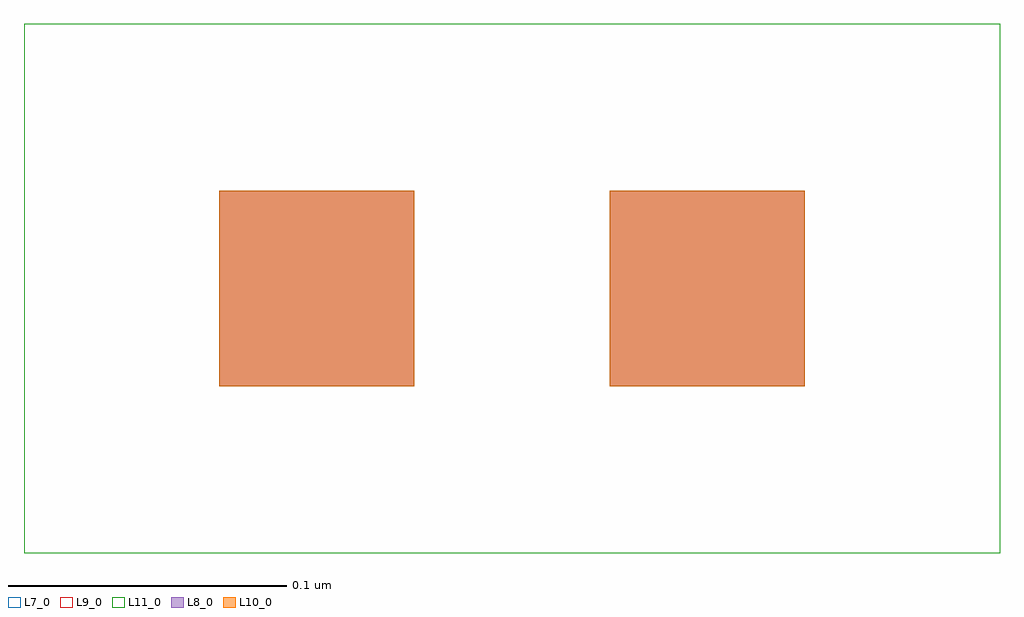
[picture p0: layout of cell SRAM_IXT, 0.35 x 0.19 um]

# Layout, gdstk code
import gdstk
lib = gdstk.Library(unit=1e-6, precision=5e-10)
def R(c, l, rs):  # rectangles x0, y0, x1, y1
    for r in rs: c.add(gdstk.rectangle(r[:2], r[2:], *l))
L7_0 = (7, 0)
L8_0 = (8, 0)
L9_0 = (9, 0)
L10_0 = (10, 0)
L11_0 = (11, 0)

sram_ixt = lib.new_cell('SRAM_IXT')
R(sram_ixt, L7_0, [(-0.175,-0.095,0.175,0.095)])
R(sram_ixt, L8_0, [(-0.105,-0.035,-0.035,0.035), (0.035,-0.035,0.105,0.035)])
R(sram_ixt, L9_0, [(-0.175,-0.095,0.175,0.095)])
R(sram_ixt, L10_0, [(-0.105,-0.035,-0.035,0.035), (0.035,-0.035,0.105,0.035)])
R(sram_ixt, L11_0, [(-0.175,-0.095,0.175,0.095)])

lib.write_gds('SRAM_IXT.gds')
